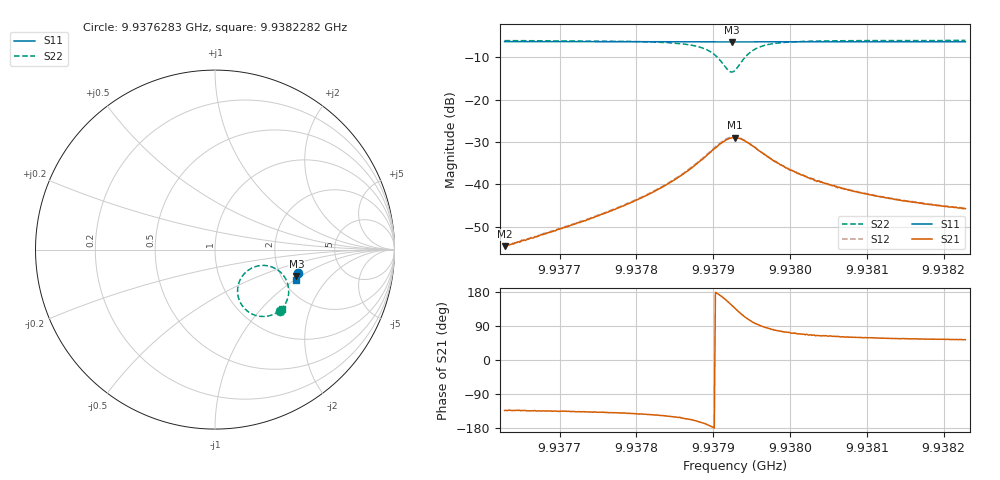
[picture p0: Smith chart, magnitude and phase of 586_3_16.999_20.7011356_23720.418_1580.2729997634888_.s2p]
#  HZ  S  RI  R  50.00
! Rohde & Schwarz Vector Network Analyzer
! Rohde-Schwarz,ZNB20-2Port,1311601062101988,3.16
! Created: UTC 3/20/2024, 11:18:20 PM
! freq[Hz]  re:S11  im:S11  re:S21  im:S21  re:S12  im:S12  re:S22  im:S22
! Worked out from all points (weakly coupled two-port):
!   401 points, 9.9376283 GHz to 9.9382282 GHz, reference 50 ohm
!   highest |S21| = -28.96 dB at 9.9379283 GHz (marker M1); lowest = -54.5 dB at 9.9376283 GHz (marker M2)
!   lowest |S11| = -6.4 dB at 9.9379238 GHz (marker M3), VSWR 2.82, Z = 121 - j45.9 ohm
!   |S11| at or under -10 dB: nowhere
!   |S22| runs from -13.5 to -6.1 dB; largest |S21 - S12| = 0.0018
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9.93762835e9  0.4644 -0.13  -0.00129 -0.00136  -0.00134 -0.00136  0.3594 -0.3405
9.93766734e9  0.4633 -0.1326  -0.00165 -0.00175  -0.00172 -0.00172  0.354 -0.3447
9.93772883e9  0.4619 -0.1366  -0.00266 -0.00251  -0.00271 -0.00254  0.3421 -0.3523
9.93778282e9  0.4603 -0.1403  -0.00429 -0.00357  -0.00445 -0.00356  0.3246 -0.3612
9.93782931e9  0.4591 -0.1438  -0.00735 -0.005  -0.00756 -0.00492  0.2963 -0.37
9.9378608e9  0.4578 -0.1459  -0.0118 -0.00582  -0.0122 -0.00583  0.2572 -0.3724
9.9378878e9  0.4562 -0.1478  -0.02 -0.00463  -0.0205 -0.00426  0.1924 -0.351
9.93789979e9  0.4549 -0.1481  -0.0255 -0.00106  -0.0263 -0.000379  0.1526 -0.3138
9.93791029e9  0.454 -0.1481  -0.03 0.006  -0.0306 0.00703  0.127 -0.2504
9.93791929e9  0.4534 -0.1477  -0.0307 0.0152  -0.031 0.0167  0.137 -0.1751
9.93792379e9  0.4533 -0.1473  -0.029 0.0203  -0.0289 0.0218  0.1591 -0.1389
9.93792829e9  0.4536 -0.1471  -0.0258 0.0246  -0.0253 0.026  0.1917 -0.1105
9.93793729e9  0.4541 -0.1469  -0.017 0.0294  -0.0161 0.0306  0.269 -0.088
9.93794629e9  0.455 -0.1472  -0.00861 0.0294  -0.00763 0.0297  0.3335 -0.1042
9.93796128e9  0.4559 -0.1484  -0.000221 0.0244  0.000511 0.0245  0.3896 -0.1562
9.93797478e9  0.4559 -0.1499  0.00285 0.0199  0.00334 0.02  0.4067 -0.1964
9.93799278e9  0.4558 -0.1515  0.00453 0.0155  0.00484 0.0155  0.4106 -0.2335
9.93802877e9  0.455 -0.1544  0.00491 0.0106  0.00498 0.0106  0.4041 -0.2743
9.93806776e9  0.4539 -0.1573  0.0043 0.00787  0.00454 0.0079  0.3952 -0.296
9.93812925e9  0.4523 -0.1615  0.00371 0.00574  0.00387 0.00578  0.3841 -0.3147
9.93817574e9  0.451 -0.1644  0.00338 0.00484  0.00348 0.00486  0.3777 -0.3234
9.93822823e9  0.4497 -0.1678  0.00307 0.00418  0.0032 0.00416  0.3718 -0.3307
